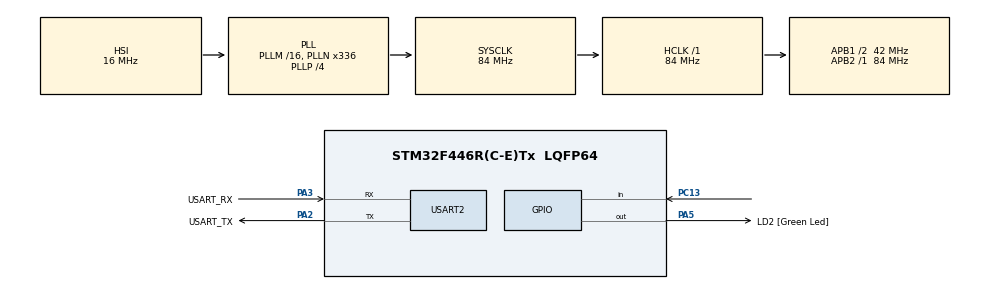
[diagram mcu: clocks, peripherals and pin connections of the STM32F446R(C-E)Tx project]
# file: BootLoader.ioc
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Mcu.Family=STM32F4
Mcu.Name=STM32F446R(C-E)Tx
Mcu.Package=LQFP64
NVIC.PriorityGroup=NVIC_PRIORITYGROUP_0
PA13.GPIO_Label=TMS
PA13.Mode=Serial_Wire
PA13.Signal=SYS_JTMS-SWDIO
PA14.GPIO_Label=TCK
PA14.Mode=Serial_Wire
PA14.Signal=SYS_JTCK-SWCLK
PA2.GPIO_Label=USART_TX
PA2.Mode=Asynchronous
PA2.Signal=USART2_TX
PA3.GPIO_Label=USART_RX
PA3.Mode=Asynchronous
PA3.Signal=USART2_RX
PA5.GPIO_Label=LD2 [Green Led]
PA5.Signal=GPIO_Output
PB3.GPIO_Label=SWO
PB3.Signal=SYS_JTDO-SWO
PC13.Signal=GPIO_Input
PC14-OSC32_IN.Mode=LSE-External-Oscillator
PC14-OSC32_IN.Signal=RCC_OSC32_IN
PC15-OSC32_OUT.Mode=LSE-External-Oscillator
PC15-OSC32_OUT.Signal=RCC_OSC32_OUT
PH0-OSC_IN.Mode=HSE-External-Oscillator
PH0-OSC_IN.Signal=RCC_OSC_IN
PH1-OSC_OUT.Mode=HSE-External-Oscillator
PH1-OSC_OUT.Signal=RCC_OSC_OUT
ProjectManager.HeapSize=0x200
ProjectManager.StackSize=0x400
ProjectManager.TargetToolchain=STM32CubeIDE
RCC.48MHZClocksFreq_Value=84000000
RCC.AHBFreq_Value=84000000
RCC.APB1CLKDivider=RCC_HCLK_DIV2
RCC.APB1Freq_Value=42000000
RCC.APB1TimFreq_Value=84000000
RCC.APB2Freq_Value=84000000
RCC.APB2TimFreq_Value=84000000
RCC.CortexFreq_Value=84000000
RCC.FLatency-AdvancedSettings=FLASH_LATENCY_2
RCC.HCLKFreq_Value=84000000
RCC.HSE_VALUE=8000000
RCC.HSI_VALUE=16000000
RCC.PLLN=336
RCC.PLLP=RCC_PLLP_DIV4
RCC.SYSCLKFreq_VALUE=84000000
RCC.SYSCLKSource=RCC_SYSCLKSOURCE_PLLCLK
RCC.USBFreq_Value=168000000
RCC.VCOOutputFreq_Value=336000000
USART2.VirtualMode=VM_ASYNC
VP_CRC_VS_CRC.Mode=CRC_Activate
board=NUCLEO-F446RE
wolfSSL.I-CUBE-wolfSSL.5.7.4.WOLF_CONF_AESCBC=1
wolfSSL.I-CUBE-wolfSSL.5.7.4.WOLF_CONF_AESGCM=0
wolfSSL.I-CUBE-wolfSSL.5.7.4.WOLF_CONF_CHAPOLY=0
wolfSSL.I-CUBE-wolfSSL.5.7.4.WOLF_CONF_DEBUG=1
wolfSSL.I-CUBE-wolfSSL.5.7.4.WOLF_CONF_DH=0
wolfSSL.I-CUBE-wolfSSL.5.7.4.WOLF_CONF_ECC=0
wolfSSL.I-CUBE-wolfSSL.5.7.4.WOLF_CONF_MATH=4
wolfSSL.I-CUBE-wolfSSL.5.7.4.WOLF_CONF_OPENSSL_EXTRA=0
wolfSSL.I-CUBE-wolfSSL.5.7.4.WOLF_CONF_PSK=1
wolfSSL.I-CUBE-wolfSSL.5.7.4.WOLF_CONF_RNG=0
wolfSSL.I-CUBE-wolfSSL.5.7.4.WOLF_CONF_RSA=0
wolfSSL.I-CUBE-wolfSSL.5.7.4.WOLF_CONF_TEST=0
wolfSSL.I-CUBE-wolfSSL.5.7.4.WOLF_CONF_TLS12=0
wolfSSL.I-CUBE-wolfSSL.5.7.4.WOLF_CONF_TLS13=0
wolfSSL.I-CUBE-wolfSSL.5.7.4.WOLF_CONF_WOLFCRYPT_ONLY=1

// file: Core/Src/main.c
/* USER CODE BEGIN Header */
/**
 ******************************************************************************
 * @file           : main.c
 * @brief          : Main program body
 ******************************************************************************
 * @attention
 *
 * Copyright (c) 2024 STMicroelectronics.
 * All rights reserved.
 *
 * This software is licensed under terms that can be found in the LICENSE file
 * in the root directory of this software component.
 * If no LICENSE file comes with this software, it is provided AS-IS.
 *
 ******************************************************************************
 */
/* USER CODE END Header */
#include "main.h"

/* USER CODE BEGIN Includes */
#include <stdlib.h>
#include <string.h>
#include "../../BL/Header/BootLoader.h"
/* USER CODE END Includes */

/* USER CODE BEGIN PTD */
#include "stm32f4xx_hal_gpio.h"

/* USER CODE END PTD */

/* USER CODE BEGIN PD */
#define FLASH_SEC2_BASE_ADD 0x8008000U
/* USER CODE END PD */

CRC_HandleTypeDef hcrc;

UART_HandleTypeDef huart2;

void SystemClock_Config(void);
static void MX_GPIO_Init(void);
static void MX_CRC_Init(void);
static void MX_USART2_UART_Init(void);

/* USER CODE BEGIN 0 */
void voidSendNAck(void);
/* USER CODE END 0 */

int main(void)
{

  /* MCU Configuration--------------------------------------------------------*/

  /* Reset of all peripherals, Initializes the Flash interface and the Systick. */
  HAL_Init();

  /* Configure the system clock */
  SystemClock_Config();

  /* Initialize all configured peripherals */
  MX_GPIO_Init();
  MX_CRC_Init();
  MX_USART2_UART_Init();
  /* USER CODE BEGIN 2 */

	if(HAL_GPIO_ReadPin(GPIOC,GPIO_PIN_13)==GPIO_PIN_RESET)
	{
		BootLoader_Uart_Read_Data();
	}
	else
	{
		BootLoader_Uart_JMP_TO_USERAPP();
	}

  /* USER CODE END 2 */

  /* Infinite loop */

    /* USER CODE BEGIN 3 */
	return 0;
  /* USER CODE END 3 */
}

void SystemClock_Config(void)
{
  RCC_OscInitTypeDef RCC_OscInitStruct = {0};
  RCC_ClkInitTypeDef RCC_ClkInitStruct = {0};

  /** Configure the main internal regulator output voltage
  */
  __HAL_RCC_PWR_CLK_ENABLE();
  __HAL_PWR_VOLTAGESCALING_CONFIG(PWR_REGULATOR_VOLTAGE_SCALE3);

  /** Initializes the RCC Oscillators according to the specified parameters
  * in the RCC_OscInitTypeDef structure.
  */
  RCC_OscInitStruct.OscillatorType = RCC_OSCILLATORTYPE_HSI;
  RCC_OscInitStruct.HSIState = RCC_HSI_ON;
  RCC_OscInitStruct.HSICalibrationValue = RCC_HSICALIBRATION_DEFAULT;
  RCC_OscInitStruct.PLL.PLLState = RCC_PLL_ON;
  RCC_OscInitStruct.PLL.PLLSource = RCC_PLLSOURCE_HSI;
  RCC_OscInitStruct.PLL.PLLM = 16;
  RCC_OscInitStruct.PLL.PLLN = 336;
  RCC_OscInitStruct.PLL.PLLP = RCC_PLLP_DIV4;
  RCC_OscInitStruct.PLL.PLLQ = 2;
  RCC_OscInitStruct.PLL.PLLR = 2;
  if (HAL_RCC_OscConfig(&RCC_OscInitStruct) != HAL_OK)
  {
    Error_Handler();
  }

  /** Initializes the CPU, AHB and APB buses clocks
  */
  RCC_ClkInitStruct.ClockType = RCC_CLOCKTYPE_HCLK|RCC_CLOCKTYPE_SYSCLK
                              |RCC_CLOCKTYPE_PCLK1|RCC_CLOCKTYPE_PCLK2;
  RCC_ClkInitStruct.SYSCLKSource = RCC_SYSCLKSOURCE_PLLCLK;
  RCC_ClkInitStruct.AHBCLKDivider = RCC_SYSCLK_DIV1;
  RCC_ClkInitStruct.APB1CLKDivider = RCC_HCLK_DIV2;
  RCC_ClkInitStruct.APB2CLKDivider = RCC_HCLK_DIV1;

  if (HAL_RCC_ClockConfig(&RCC_ClkInitStruct, FLASH_LATENCY_2) != HAL_OK)
  {
    Error_Handler();
  }
}

static void MX_CRC_Init(void)
{

  hcrc.Instance = CRC;
  if (HAL_CRC_Init(&hcrc) != HAL_OK)
  {
    Error_Handler();
  }

}

static void MX_USART2_UART_Init(void)
{

  huart2.Instance = USART2;
  huart2.Init.BaudRate = 115200;
  huart2.Init.WordLength = UART_WORDLENGTH_8B;
  huart2.Init.StopBits = UART_STOPBITS_1;
  huart2.Init.Parity = UART_PARITY_NONE;
  huart2.Init.Mode = UART_MODE_TX_RX;
  huart2.Init.HwFlowCtl = UART_HWCONTROL_NONE;
  huart2.Init.OverSampling = UART_OVERSAMPLING_16;
  if (HAL_UART_Init(&huart2) != HAL_OK)
  {
    Error_Handler();
  }

}

static void MX_GPIO_Init(void)
{
  GPIO_InitTypeDef GPIO_InitStruct = {0};

  /* GPIO Ports Clock Enable */
  __HAL_RCC_GPIOC_CLK_ENABLE();
  __HAL_RCC_GPIOH_CLK_ENABLE();
  __HAL_RCC_GPIOA_CLK_ENABLE();
  __HAL_RCC_GPIOB_CLK_ENABLE();

  /*Configure GPIO pin Output Level */
  HAL_GPIO_WritePin(LD2_GPIO_Port, LD2_Pin, GPIO_PIN_RESET);

  /*Configure GPIO pin : PC13 */
  GPIO_InitStruct.Pin = GPIO_PIN_13;
  GPIO_InitStruct.Mode = GPIO_MODE_INPUT;
  GPIO_InitStruct.Pull = GPIO_NOPULL;
  HAL_GPIO_Init(GPIOC, &GPIO_InitStruct);

  /*Configure GPIO pin : LD2_Pin */
  GPIO_InitStruct.Pin = LD2_Pin;
  GPIO_InitStruct.Mode = GPIO_MODE_OUTPUT_PP;
  GPIO_InitStruct.Pull = GPIO_NOPULL;
  GPIO_InitStruct.Speed = GPIO_SPEED_FREQ_LOW;
  HAL_GPIO_Init(LD2_GPIO_Port, &GPIO_InitStruct);

}

/* USER CODE BEGIN 4 */
void BootLoader_Uart_Read_Data()
{
	/*this fnc is used to read commands from the user*/

	uint8_t Local_u8CmdPacket[255]={0};

	uint8_t Local_CRC_State=0U;

	uint32_t HOST_CRC;

	uint8_t Len = 0U;
	while(1)
	{
		/*clear the cmd packet every iteration*/
		memset(Local_u8CmdPacket,0,255);// located in string.h lib

		/*1st step : read length to follow*/
		HAL_UART_Receive(&huart2, Local_u8CmdPacket, 1, HAL_MAX_DELAY);

		/*2nd step : read the reset of command , it is size is previously byte value*/
		HAL_UART_Receive(&huart2, &Local_u8CmdPacket[1], Local_u8CmdPacket[0], HAL_MAX_DELAY);

		/*3rd step : check sha256*/
		Len = Local_u8CmdPacket[0]+1;

		HOST_CRC = (*(uint32_t * )(&Local_u8CmdPacket[Len-4]));
		//*((uint32_t*)(CMDpacket+Local_u8CMDLen-4));

		Local_CRC_State=u8_VerifyCrc(Local_u8CmdPacket,(uint8_t)(Len-4),HOST_CRC);

		if(Local_CRC_State==CRC_SUCCES)
		{
			/*4TH step : check the command code, then handle the command*/
			switch(Local_u8CmdPacket[1])
			{

			case BL_GET_VER              :     BL_voidHandlerGetVerCMD()           				     ;   break;
			case BL_GET_HELP             :     BL_voidHandlerGetHelpCMD() 		 			   	     ;   break;
			case BL_GET_CID              :     BL_voidHandlerGetCIDCMD()   	       				     ;	 break;
			case BL_GET_RDP_STATUS       :     BL_voidHandlerGetRDPStateCMD(Local_u8CmdPacket) 	     ;   break;
			case BL_GO_TO_ADDR           :     BL_voidHandlerGoTOADDCMD(Local_u8CmdPacket)  	     ;	 break;
			case BL_FLASH_ERASE          :     BL_voidHandlerFlashEraseCMD(Local_u8CmdPacket)	     ;   break;
			case BL_MEM_WRITE            :     BL_voidHandlerMemWriteCMD(Local_u8CmdPacket)  	     ;	 break;
			case BL_EN_R_W_PROTECT       :     BL_voidHandlerEnRW_protectCMD(Local_u8CmdPacket)      ;   break;
			case BL_MEM_READ             :     BL_voidHandlerMemReadCMD(Local_u8CmdPacket)  	     ;	 break;
			case BL_READ_SECTOR_P_STATUS :     BL_voidHandlerReadSecPROStateCMD()   				 ;   break;
			case BL_OTP_READ             :     BL_voidHandlerOTPReadCMD() 	  	  	 				 ;   break;
			case BL_DIS_R_W_PROTECT      :     BL_voidHandlerDISRW_protectCMD()    					 ;	 break;
			default :/*invalid command from host*/
				/*can configure a different UART(not uart2) port and through this port send debugging messages*/

				break;
			}
		}
		else
		{
			/*
			 * WRONG crc
			 * DATA CHANGED
			 * */
			voidSendNAck();
		}

	}
}
void BootLoader_Uart_JMP_TO_USERAPP()
{

	/*pointer to fnc.holds the add of the reset handler of userapp*/
	void (*App_Reset_HANDLER)(void);

	uint32_t MSP_BASE_ADD = (*(uint32_t *)(FLASH_SEC2_BASE_ADD));

	uint32_t ResetHandlerAdd = (*(uint32_t *)(FLASH_SEC2_BASE_ADD+4U));

	__asm volatile("MSR MSP,%0"::"r"(MSP_BASE_ADD));

	App_Reset_HANDLER = (void*)ResetHandlerAdd;

	App_Reset_HANDLER();
}

/* USER CODE END 4 */

void Error_Handler(void)
{
	__disable_irq();
	while (1)
	{
	}
}
